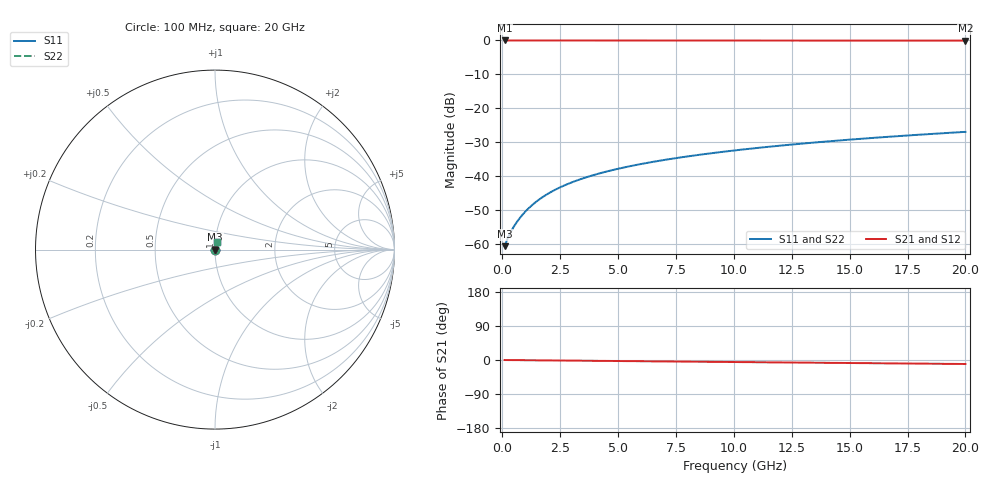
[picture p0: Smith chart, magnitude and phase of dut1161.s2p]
! Touchstone file exported from HFSS 2026.1.0
!  File:  C:/ffzhzh/LocalFiles/Ansys_Project_Files/temp_train_TMRDL_1161_1783162296_22436.aedt
!  Generated:  06:52:51 PM Jul  4, 2026
!  Design:  TMRDL
!  Project:  temp_train_TMRDL_1161_1783162296_22436
! Variables:
!  h_bsmrdl = 2um
!  h_ox = 20um
!  h_rdl = 5um
!  h_sub = 80um
!  h_tmrdl = 5.96um
!  h_tsv = 80um
!  h_via = 3um
!  l_bsmrdl = 300um
!  l_sub = 576.52um
!  l_tmrdl = 176.52um
!  m_sub = 200um
!  pitch = 22.21um
!  r_tsv = 6um
!  s_tmrdl = 10um
!  w_bsmrdl = 18um
!  w_sub = 500um
!  w_tmrdl = 14.16um
!  x_tsv_center1 = 183.6um
!  x_tsv_center2 = 501.6um
!  x_tsv_center3 = 692.28um
!  x_tsv_center4 = 1010.28um
!  x_tsv_center5 = 1200.96um
!  x_tsv_center6 = 1518.96um
# GHz S MA R 50.000000
! Terminal data exported
! Port[1] = TM_RDL1_1_T1
! Port[2] = TM_RDL1_1_T2
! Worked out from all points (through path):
!   200 points, 100 MHz to 20 GHz, reference 50 ohm
!   highest |S21| = -0.01 dB at 100 MHz (marker M1); lowest = -0.1 dB at 20 GHz (marker M2)
!   group delay of S21, straight-line fit = 1.46 ps
!   lowest |S11| = -60.6 dB at 100 MHz (marker M3), VSWR 1.00, Z = 50.1 + j0.0362 ohm
!   |S11| at or under -10 dB: start of sweep to end of sweep
!   |S22| runs from -60.6 to -26.9 dB; largest |S21 - S12| = 7.3e-15
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0.1  0.0009354 22.8  0.9991 -0.1  0.9991 -0.1  0.0009354 22.8
! Gamma 0 0 0 0
! Port Impedance 50 0 50 0
0.2  0.001149 36.0  0.9991 -0.1  0.9991 -0.1  0.001149 36.0
0.3  0.001372 43.9  0.999 -0.2  0.999 -0.2  0.001372 43.9
0.4  0.001593 49.7  0.999 -0.2  0.999 -0.2  0.001593 49.7
0.6  0.002051 57.9  0.9989 -0.3  0.9989 -0.3  0.002051 57.9
0.9  0.002781 65.3  0.9989 -0.5  0.9989 -0.5  0.002781 65.3
1.1  0.003287 68.3  0.9988 -0.6  0.9988 -0.6  0.003287 68.3
1.3  0.0038 70.5  0.9988 -0.7  0.9988 -0.7  0.0038 70.5
1.7  0.004834 73.1  0.9987 -0.9  0.9987 -0.9  0.004834 73.1
2.2  0.00612 74.9  0.9985 -1.2  0.9985 -1.2  0.00612 74.9
2.8  0.007637 75.9  0.9983 -1.5  0.9983 -1.5  0.007637 75.9
3.5  0.00936 76.4  0.9981 -1.9  0.9981 -1.9  0.00936 76.4
4.2  0.01104 76.5  0.9978 -2.3  0.9978 -2.3  0.01104 76.5
5  0.0129 76.6  0.9975 -2.7  0.9975 -2.7  0.0129 76.6
5.9  0.01495 76.5  0.9972 -3.2  0.9972 -3.2  0.01495 76.5
6.8  0.01696 76.5  0.9969 -3.7  0.9969 -3.7  0.01696 76.5
8.3  0.02027 76.3  0.9965 -4.5  0.9965 -4.5  0.02027 76.3
10.1  0.02418 75.9  0.9961 -5.4  0.9961 -5.4  0.02418 75.9
11.7  0.02761 75.5  0.9957 -6.2  0.9957 -6.2  0.02761 75.5
13.4  0.03124 75.1  0.9953 -7.1  0.9953 -7.1  0.03124 75.1
16.7  0.0382 74.0  0.9945 -8.9  0.9945 -8.9  0.0382 74.0
20  0.04507 72.8  0.9938 -10.6  0.9938 -10.6  0.04507 72.8
